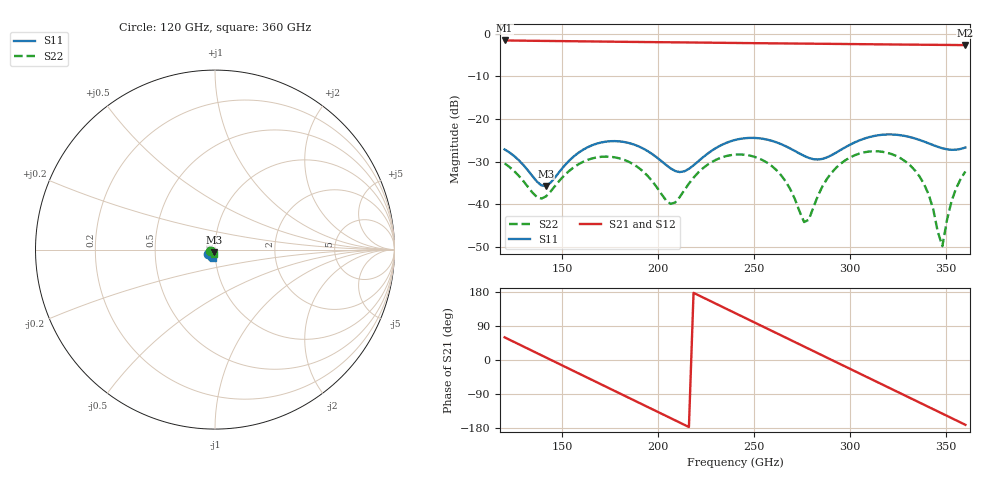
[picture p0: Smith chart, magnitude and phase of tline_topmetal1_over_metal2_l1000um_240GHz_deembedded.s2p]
! Created with skrf 2.0.1 (http://scikit-rf.org).
# GHz S DB R 50.0
!freq dBS11 angS11 dBS21 angS21 dBS12 angS12 dBS22 angS22
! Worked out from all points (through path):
!   101 points, 120 GHz to 360 GHz, reference 50 ohm
!   highest |S21| = -1.63 dB at 120 GHz (marker M1); lowest = -2.7 dB at 360 GHz (marker M2)
!   group delay of S21, straight-line fit = 6.84 ps
!   lowest |S11| = -35.7 dB at 141.6 GHz (marker M3), VSWR 1.03, Z = 49.2 - j1.45 ohm
!   |S11| at or under -10 dB: start of sweep to end of sweep
!   |S22| runs from -49.8 to -27.6 dB; largest |S21 - S12| = 9e-14
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120  -27.14 -145.9  -1.63 59.8  -1.63 59.8  -30.41 -168.6
136.8  -34.65 -142.0  -1.71 18.3  -1.71 18.3  -38.28 -158.8
141.6  -35.67 -116.5  -1.74 6.5  -1.74 6.5  -38.11 -133.6
160.8  -27.23 -95.5  -1.83 -40.9  -1.83 -40.9  -30.05 -130.1
180  -25.26 -124.3  -1.93 -88.2  -1.93 -88.2  -29.25 -166.4
192  -26.89 -139.7  -1.99 -117.8  -1.99 -117.8  -32.24 174.4
201.6  -29.85 -141.8  -2.03 -141.4  -2.03 -141.4  -37.53 177.3
208.8  -32.18 -127.6  -2.07 -159.1  -2.07 -159.1  -39.58 -142.7
220.8  -29.94 -94.8  -2.12 171.3  -2.12 171.3  -32.58 -122.2
240  -24.93 -104.7  -2.21 124.0  -2.21 124.0  -28.36 -155.2
259.2  -25.13 -127.4  -2.30 76.8  -2.30 76.8  -31.04 165.9
268.8  -26.93 -132.4  -2.34 53.2  -2.34 53.2  -36.47 154.7
276  -28.65 -127.8  -2.37 35.5  -2.37 35.5  -44.15 -170.2
280.8  -29.42 -119.3  -2.38 23.7  -2.38 23.7  -40.75 -118.3
288  -28.98 -104.0  -2.41 6.0  -2.41 6.0  -33.97 -112.0
297.6  -26.60 -95.6  -2.46 -17.7  -2.46 -17.7  -29.64 -127.9
309.6  -24.29 -101.7  -2.51 -47.2  -2.51 -47.2  -27.65 -153.8
321.6  -23.64 -113.4  -2.56 -76.6  -2.56 -76.6  -28.23 178.9
338.4  -25.29 -124.2  -2.63 -117.9  -2.63 -117.9  -35.20 144.2
348  -26.87 -118.9  -2.67 -141.5  -2.67 -141.5  -49.79 -140.9
352.8  -27.24 -112.2  -2.68 -153.3  -2.68 -153.3  -39.22 -97.4
360  -26.70 -101.5  -2.71 -171.0  -2.71 -171.0  -32.31 -106.1
